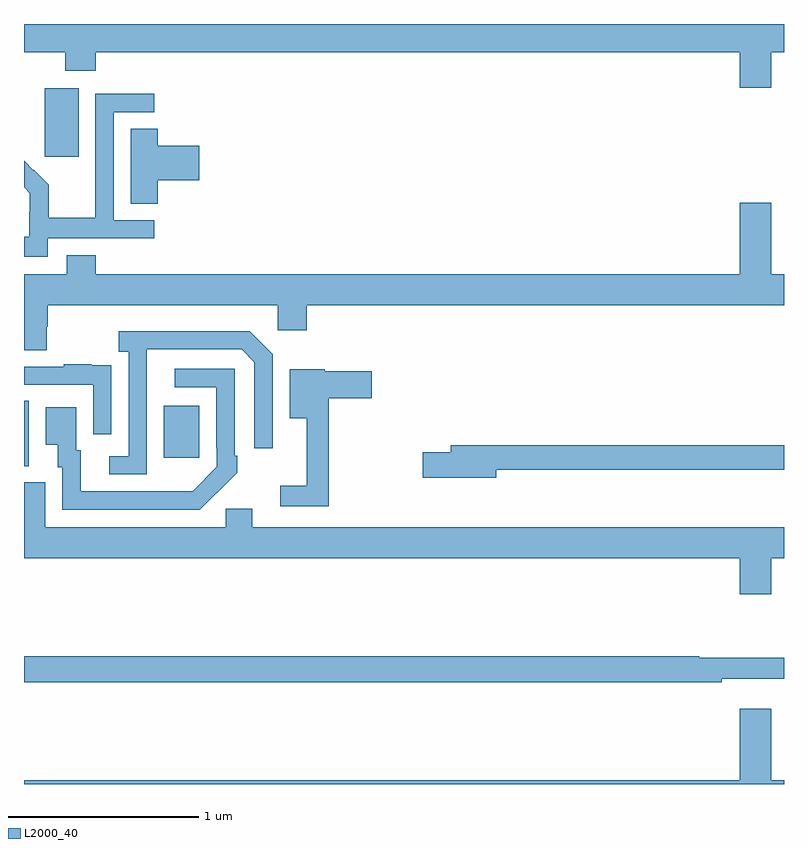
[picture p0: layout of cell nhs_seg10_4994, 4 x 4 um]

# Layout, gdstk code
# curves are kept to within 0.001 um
import gdstk
lib = gdstk.Library(unit=1e-6, precision=1e-09)
def R(c, l, rs):  # rectangles x0, y0, x1, y1
    for r in rs: c.add(gdstk.rectangle(r[:2], r[2:], *l))
def P(c, l, *ps):  # polygons
    for p in ps: c.add(gdstk.Polygon(p, *l))
L2000_40 = (2000, 40)

nhs_seg10_4994 = lib.new_cell('nhs_seg10_4994')
R(nhs_seg10_4994, L2000_40, [(401,1262.173,401.026,1262.516), (401.735,1262.217,401.923,1262.491), (401.108,1263.801,401.287,1264.162)])
P(nhs_seg10_4994, L2000_40, [(404.932,1264.352),(405,1264.352),(405,1264.5),(401,1264.5),(401,1264.352),(401.218,1264.352),(401.218,1264.253),(401.378,1264.253),(401.378,1264.352),(404.768,1264.352),(404.768,1264.164),(404.932,1264.164)],
  [(401.124,1263.372),(401.686,1263.372),(401.686,1263.468),(401.472,1263.468),(401.472,1264.035),(401.686,1264.035),(401.686,1264.134),(401.376,1264.134),(401.376,1263.704),(401.374,1263.704),(401.374,1263.481),(401.129,1263.481),(401.129,1263.655),(401.052,1263.732),(401.049,1263.729),(401,1263.779),(401,1263.64),(401.03,1263.61),(401.03,1263.513),(401.028,1263.513),(401.028,1263.379),(401,1263.379),(401,1263.275),(401.124,1263.275)],
  [(401.705,1263.677),(401.923,1263.677),(401.923,1263.86),(401.705,1263.86),(401.705,1263.95),(401.561,1263.95),(401.561,1263.553),(401.705,1263.553)],
  [(401.378,1263.283),(401.225,1263.283),(401.225,1263.184),(401,1263.184),(401,1262.782),(401.121,1262.782),(401.121,1262.907),(401.126,1262.907),(401.126,1263.02),(402.336,1263.02),(402.336,1262.889),(402.488,1262.889),(402.488,1263.02),(405,1263.02),(405,1263.184),(404.932,1263.184),(404.932,1263.559),(404.768,1263.559),(404.768,1263.184),(401.378,1263.184)],
  [(401.646,1262.587),(401.647,1262.787),(402.147,1262.787),(402.213,1262.721),(402.213,1262.268),(402.309,1262.268),(402.309,1262.763),(402.188,1262.884),(401.499,1262.884),(401.499,1262.774),(401.55,1262.774),(401.55,1262.226),(401.448,1262.226),(401.448,1262.13),(401.646,1262.13)],
  [(401.46,1262.594),(401.459,1262.594),(401.459,1262.703),(401.357,1262.703),(401.357,1262.71),(401.209,1262.71),(401.209,1262.697),(401,1262.697),(401,1262.601),(401.364,1262.601),(401.364,1262.34),(401.46,1262.34)],
  [(402.017,1262.035),(402.018,1262.034),(402.123,1262.139),(402.123,1262.227),(402.108,1262.227),(402.108,1262.685),(401.793,1262.685),(401.793,1262.589),(402.012,1262.589),(402.012,1262.269),(402.015,1262.269),(402.015,1262.169),(401.887,1262.041),(401.299,1262.04),(401.299,1262.256),(401.275,1262.256),(401.275,1262.482),(401.114,1262.482),(401.114,1262.285),(401.177,1262.285),(401.177,1262.166),(401.202,1262.166),(401.202,1261.944),(401.926,1261.944)],
  [(402.605,1262.531),(402.829,1262.531),(402.829,1262.673),(402.582,1262.673),(402.582,1262.683),(402.398,1262.683),(402.398,1262.426),(402.488,1262.426),(402.488,1262.071),(402.348,1262.071),(402.348,1261.962),(402.605,1261.962)],
  [(403.486,1262.154),(405,1262.154),(405,1262.282),(403.247,1262.282),(403.247,1262.246),(403.098,1262.246),(403.098,1262.111),(403.486,1262.111)],
  [(404.932,1261.688),(405,1261.688),(405,1261.852),(402.202,1261.852),(402.202,1261.95),(402.063,1261.95),(402.063,1261.852),(401.113,1261.852),(401.113,1262.088),(401,1262.088),(401,1261.688),(404.768,1261.688),(404.768,1261.5),(404.932,1261.5)],
  [(404.672,1261.055),(405,1261.055),(405,1261.165),(404.555,1261.165),(404.555,1261.172),(401,1261.172),(401,1261.036),(404.672,1261.036)],
  [(405,1260.52),(404.932,1260.52),(404.932,1260.895),(404.768,1260.895),(404.768,1260.52),(401,1260.52),(401,1260.5),(405,1260.5)])

lib.write_gds('nhs_seg10_4994.gds')
